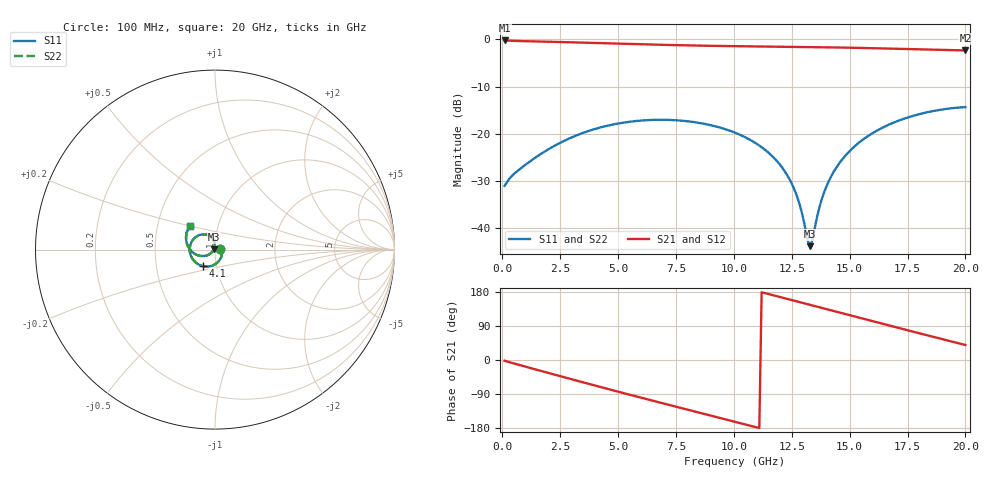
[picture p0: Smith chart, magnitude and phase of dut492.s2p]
! Touchstone file exported from HFSS 2026.1.0
!  File:  C:/ffzhzh/LocalFiles/Ansys_Project_Files/temp_train_TSV_RDL_492_1783106019_35180.aedt
!  Generated:  03:24:35 AM Jul  4, 2026
!  Design:  TSV_RDL
!  Project:  temp_train_TSV_RDL_492_1783106019_35180
! Variables:
!  h_bsmrdl = 2.59um
!  h_ox = 20um
!  h_rdl = 5um
!  h_sub = 57.37um
!  h_tmrdl = 5.22um
!  h_tsv = 57.37um
!  h_via = 3um
!  l_bsmrdl = 480.58um
!  l_sub = 5572.25um
!  l_tmrdl = 906.82um
!  m_sub = 200um
!  pitch = 19.91um
!  r_tsv = 6.27um
!  s_tmrdl = 10um
!  w_bsmrdl = 18.88um
!  w_sub = 500um
!  w_tmrdl = 15.53um
!  x_tsv_center1 = 914.585um
!  x_tsv_center2 = 1414.045um
!  x_tsv_center3 = 2336.395um
!  x_tsv_center4 = 2835.855um
!  x_tsv_center5 = 3758.205um
!  x_tsv_center6 = 4257.665um
# GHz S MA R 50.000000
! Terminal data exported
! Port[1] = TM_RDL1_1_T1
! Port[2] = TM_RDL5_1_T1
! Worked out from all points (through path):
!   200 points, 100 MHz to 20 GHz, reference 50 ohm
!   highest |S21| = -0.25 dB at 100 MHz (marker M1); lowest = -2.4 dB at 20 GHz (marker M2)
!   group delay of S21, straight-line fit = 44.2 ps
!   lowest |S11| = -43.7 dB at 13.3 GHz (marker M3), VSWR 1.01, Z = 49.4 + j0.227 ohm
!   |S11| at or under -10 dB: start of sweep to end of sweep
!   |S22| runs from -43.7 to -14.3 dB; largest |S21 - S12| = 1.5e-13
!   S11 on the Smith chart (normalised r, x): 100 MHz: 1.06, +0.00; 4.1 GHz: 0.86, -0.16; 20 GHz: 0.73, +0.20
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0.1  0.02827 2.0  0.9718 -2.0  0.9718 -2.0  0.02827 2.0
! Gamma 0 0 0 0
! Port Impedance 50 0 50 0
0.6  0.03956 -17.7  0.9603 -10.8  0.9603 -10.8  0.03956 -17.7
1.7  0.06211 -63.6  0.9453 -29.3  0.9453 -29.3  0.06212 -63.6
3.5  0.1027 -113.4  0.9218 -59.2  0.9218 -59.2  0.1027 -113.4
4.1  0.1145 -126.8  0.9131 -69.0  0.9131 -69.0  0.1145 -126.8
5.4  0.1333 -153.4  0.8941 -90.0  0.8941 -90.0  0.1334 -153.3
6.8  0.141 -179.7  0.8752 -112.2  0.8752 -112.2  0.141 -179.6
8.5  0.1307 150.4  0.857 -138.9  0.857 -138.9  0.1307 150.4
10.1  0.1018 123.7  0.8451 -163.9  0.8451 -163.9  0.1018 123.7
11.3  0.06932 105.1  0.8384 177.2  0.8384 177.2  0.0693 105.1
12.2  0.04016 93.8  0.8338 163.0  0.8338 163.0  0.04011 93.9
12.8  0.01936 94.0  0.8306 153.4  0.8306 153.4  0.0193 94.2
13.2  0.007328 130.1  0.8282 147.1  0.8282 147.1  0.007301 130.7
13.3  0.006501 159.3  0.8276 145.5  0.8276 145.5  0.006522 160.1
13.4  0.007705 -173.0  0.827 143.9  0.827 143.9  0.007768 -172.5
13.6  0.01344 -147.9  0.8257 140.7  0.8257 140.7  0.01354 -147.7
13.9  0.02417 -139.6  0.8236 135.9  0.8236 135.9  0.02428 -139.5
14.5  0.04685 -142.0  0.819 126.3  0.819 126.3  0.04699 -141.9
15.4  0.08068 -153.5  0.8111 111.9  0.8111 111.9  0.08084 -153.5
16.7  0.1254 -173.1  0.7975 91.2  0.7975 91.2  0.1256 -173.1
18.3  0.1681 162.3  0.7792 66.0  0.7792 66.0  0.1684 162.4
20  0.1919 136.7  0.762 39.6  0.762 39.6  0.1921 136.7
